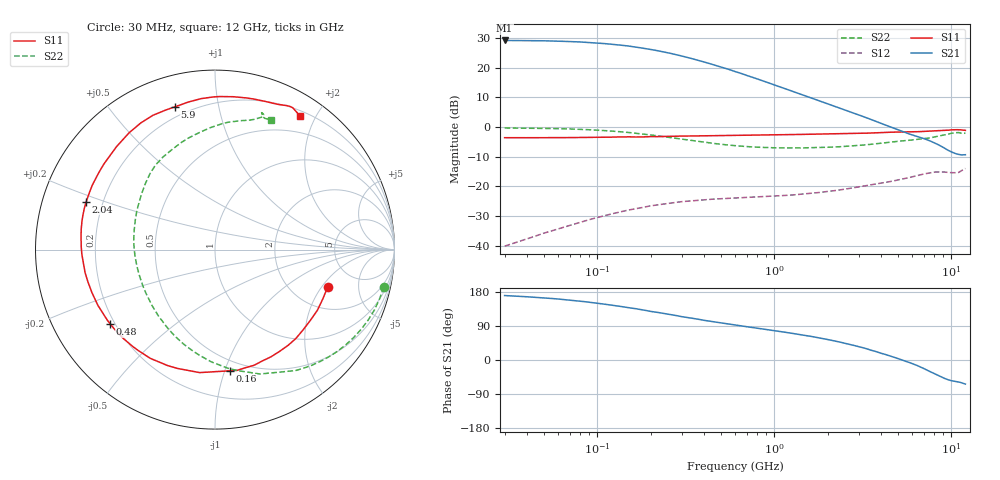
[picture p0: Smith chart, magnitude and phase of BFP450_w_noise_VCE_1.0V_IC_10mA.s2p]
! (c) 2015  Infineon Technologies AG, Munich
! Infineon Technologies  Discrete & RF Semiconductors
! BFP450
! VCE =  1.0 V,  IC =  10 mA
! Common Emitter S-Parameters:  Nov 2015
# GHz  S  MA  R  50
!  f  S11  S21  S12  S22
! GHz  MAG  ANG  MAG  ANG  MAG  ANG  MAG  ANG
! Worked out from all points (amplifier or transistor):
!   239 points, 30 MHz to 12 GHz, reference 50 ohm
!   highest |S21| = 29.1 dB at 30 MHz (marker M1)
!   |S21| within 3 dB of that: start of sweep to 199.1 MHz
!   unconditionally stable (mu >= 1): 2.045 GHz to end of sweep
!   at 300 MHz: K = 0.17, MSG = 24.5 dB, |S12| = -25.1 dB
!   at 1.88 GHz: K = 0.95, MSG = 15.1 dB, |S12| = -21.9 dB
!   at 12 GHz: K = 1.12, MAG = 0.2 dB, |S12| = -13.9 dB
!   lowest NFmin = 0.98 dB at 450 MHz
!   S11 on the Smith chart (normalised r, x): 30 MHz: 3.09, -2.29; 160 MHz: 0.41, -1.04; 480 MHz: 0.18, -0.31; 2.04 GHz: 0.14, +0.18; 5.9 GHz: 0.15, +0.75; 12 GHz: 0.27, +1.79
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0.03  0.6616 -18.4  28.59 170.1  0.0099 82.2  0.9638 -12.5
0.04  0.6606 -24.4  28.4 166.9  0.0131 79.4  0.9571 -16.6
0.055  0.6615 -33.5  28.02 162.4  0.0178 75.3  0.9441 -22.7
0.075  0.666 -45.1  27.18 156.6  0.0235 69.8  0.9207 -30.5
0.085  0.6698 -50.2  26.68 153.9  0.0262 67.7  0.9075 -34.2
0.115  0.6735 -64.8  25.02 146.1  0.0333 60.9  0.8632 -45.0
0.15  0.684 -79.6  23.04 138.0  0.0401 54.2  0.8099 -56.3
0.16  0.6802 -83.1  22.43 136.3  0.0415 52.5  0.7919 -58.8
0.2  0.6906 -97.1  20.19 128.3  0.0472 46.6  0.7371 -70.1
0.24  0.6943 -107.5  18.22 122.5  0.0511 41.9  0.686 -79.4
0.3  0.7051 -120.8  15.65 114.4  0.0555 36.4  0.6258 -91.9
0.34  0.7065 -127.4  14.23 110.5  0.0574 33.7  0.5936 -98.7
0.4  0.7116 -136.0  12.45 104.8  0.0598 30.3  0.5562 -108.0
0.48  0.7155 -144.7  10.61 99.2  0.0619 27.2  0.5198 -118.1
0.6  0.7226 -154.5  8.577 92.2  0.0641 24.3  0.4859 -130.4
0.8  0.7305 -165.8  6.432 83.8  0.0666 21.9  0.4583 -145.3
1  0.7372 -173.9  5.099 77.3  0.0688 21.0  0.4476 -156.2
1.64  0.7576 168.1  3.036 61.7  0.077 20.9  0.4491 -178.8
2.04  0.7657 159.6  2.409 53.3  0.0829 20.6  0.4576 171.2
4.5  0.8179 120.4  1.006 10.5  0.1207 11.1  0.5567 130.6
5.9  0.8258 105.8  0.749 -8.0  0.1433 2.8  0.6024 114.8
12  0.8791 57.6  0.342 -63.5  0.2009 -40.5  0.7871 66.6
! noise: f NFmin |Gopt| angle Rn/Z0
0.45  0.98  0.18  155  -0.03
0.9  1.02  0.29  158  0.08
1.9  1.18  0.48  -176  0.07
2.4  1.44  0.51  -163  0.06
